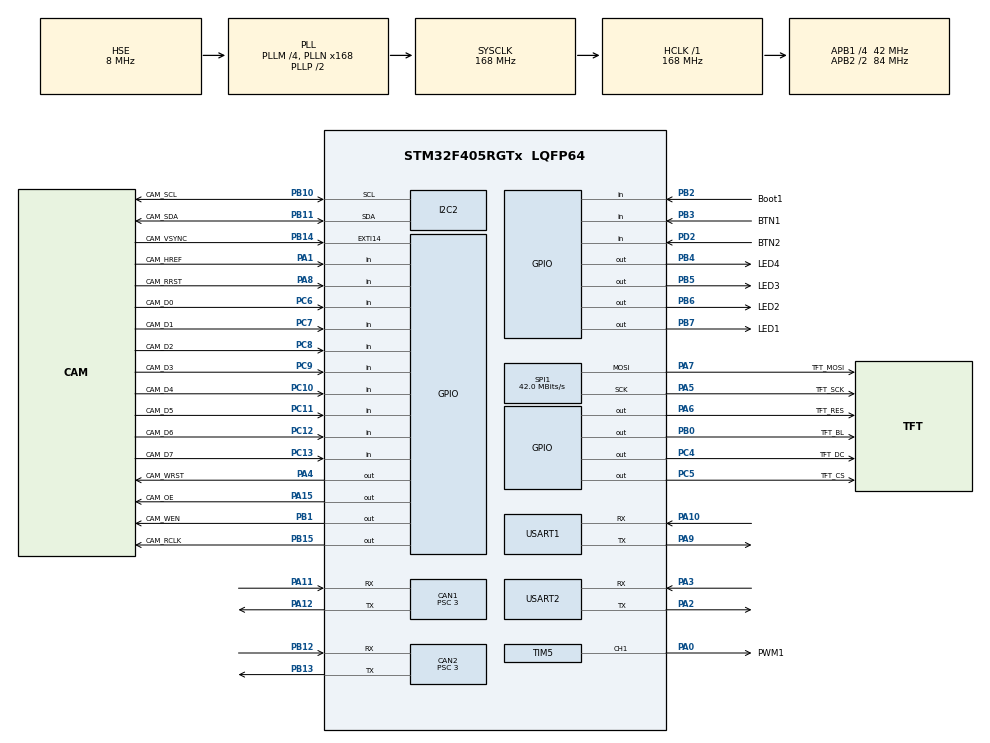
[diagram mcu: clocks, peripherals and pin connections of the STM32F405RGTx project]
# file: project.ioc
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CAN1.BS1=CAN_BS1_10TQ
CAN1.BS2=CAN_BS2_3TQ
CAN1.CalculateBaudRate=1000000
CAN1.CalculateTimeBit=1000
CAN1.CalculateTimeQuantum=71.42857142857143
CAN1.Prescaler=3
CAN2.BS1=CAN_BS1_10TQ
CAN2.BS2=CAN_BS2_3TQ
CAN2.CalculateBaudRate=1000000
CAN2.CalculateTimeBit=1000
CAN2.CalculateTimeQuantum=71.42857142857143
CAN2.Prescaler=3
Dma.Request0=SPI1_TX
Dma.SPI1_TX.0.Direction=DMA_MEMORY_TO_PERIPH
Dma.SPI1_TX.0.FIFOMode=DMA_FIFOMODE_ENABLE
Dma.SPI1_TX.0.FIFOThreshold=DMA_FIFO_THRESHOLD_FULL
Dma.SPI1_TX.0.Instance=DMA2_Stream3
Dma.SPI1_TX.0.MemBurst=DMA_MBURST_INC16
Dma.SPI1_TX.0.MemDataAlignment=DMA_MDATAALIGN_BYTE
Dma.SPI1_TX.0.MemInc=DMA_MINC_ENABLE
Dma.SPI1_TX.0.Mode=DMA_NORMAL
Dma.SPI1_TX.0.PeriphBurst=DMA_PBURST_SINGLE
Dma.SPI1_TX.0.PeriphDataAlignment=DMA_PDATAALIGN_BYTE
Dma.SPI1_TX.0.PeriphInc=DMA_PINC_DISABLE
Dma.SPI1_TX.0.Priority=DMA_PRIORITY_LOW
Mcu.Family=STM32F4
Mcu.Name=STM32F405RGTx
Mcu.Package=LQFP64
NVIC.DMA2_Stream3_IRQn=true\:0\:0\:false\:false\:true\:false\:true\:true
NVIC.EXTI15_10_IRQn=true\:0\:0\:false\:false\:true\:true\:true\:true
NVIC.PriorityGroup=NVIC_PRIORITYGROUP_4
NVIC.SPI1_IRQn=true\:0\:0\:false\:false\:true\:true\:true\:true
NVIC.TIM5_IRQn=true\:0\:0\:false\:false\:true\:true\:true\:true
NVIC.USART1_IRQn=true\:0\:0\:false\:false\:true\:true\:true\:true
PA0-WKUP.GPIO_Label=PWM1
PA0-WKUP.Signal=S_TIM5_CH1
PA1.GPIO_Label=CAM_HREF
PA1.Signal=GPIO_Input
PA10.Mode=Asynchronous
PA10.Signal=USART1_RX
PA11.Mode=CAN_Activate
PA11.Signal=CAN1_RX
PA12.Mode=CAN_Activate
PA12.Signal=CAN1_TX
PA13.Mode=Serial_Wire
PA13.Signal=SYS_JTMS-SWDIO
PA14.Mode=Serial_Wire
PA14.Signal=SYS_JTCK-SWCLK
PA15.GPIO_Label=CAM_OE
PA15.Signal=GPIO_Output
PA2.Mode=Asynchronous
PA2.Signal=USART2_TX
PA3.Mode=Asynchronous
PA3.Signal=USART2_RX
PA4.GPIO_Label=CAM_WRST
PA4.Signal=GPIO_Output
PA5.GPIO_Label=TFT_SCK
PA5.Mode=TX_Only_Simplex_Unidirect_Master
PA5.Signal=SPI1_SCK
PA6.GPIO_Label=TFT_RES
PA6.Signal=GPIO_Output
PA7.GPIO_Label=TFT_MOSI
PA7.Mode=TX_Only_Simplex_Unidirect_Master
PA7.Signal=SPI1_MOSI
PA8.GPIO_Label=CAM_RRST
PA8.Signal=GPIO_Input
PA9.Mode=Asynchronous
PA9.Signal=USART1_TX
PB0.GPIO_Label=TFT_BL
PB0.Signal=GPIO_Output
PB1.GPIO_Label=CAM_WEN
PB1.Signal=GPIO_Output
PB10.GPIO_Label=CAM_SCL
PB10.Mode=I2C
PB10.Signal=I2C2_SCL
PB11.GPIO_Label=CAM_SDA
PB11.Mode=I2C
PB11.Signal=I2C2_SDA
PB12.Mode=CAN_Activate
PB12.Signal=CAN2_RX
PB13.Mode=CAN_Activate
PB13.Signal=CAN2_TX
PB14.GPIO_Label=CAM_VSYNC
PB14.Signal=GPXTI14
PB15.GPIO_Label=CAM_RCLK
PB15.Signal=GPIO_Output
PB2.GPIO_Label=Boot1
PB2.Signal=GPIO_Input
PB3.GPIO_Label=BTN1
PB3.GPIO_PuPd=GPIO_PULLUP
PB3.Signal=GPIO_Input
PB4.GPIO_Label=LED4
PB4.Signal=GPIO_Output
PB5.GPIO_Label=LED3
PB5.Signal=GPIO_Output
PB6.GPIO_Label=LED2
PB6.Signal=GPIO_Output
PB7.GPIO_Label=LED1
PB7.Signal=GPIO_Output
PC10.GPIO_Label=CAM_D4
PC10.Signal=GPIO_Input
PC11.GPIO_Label=CAM_D5
PC11.Signal=GPIO_Input
PC12.GPIO_Label=CAM_D6
PC12.GPIO_PuPd=GPIO_NOPULL
PC12.Signal=GPIO_Input
PC13-ANTI_TAMP.GPIO_Label=CAM_D7
PC13-ANTI_TAMP.Signal=GPIO_Input
PC4.GPIO_Label=TFT_DC
PC4.Signal=GPIO_Output
PC5.GPIO_Label=TFT_CS
PC5.Signal=GPIO_Output
PC6.GPIO_Label=CAM_D0
PC6.Signal=GPIO_Input
PC7.GPIO_Label=CAM_D1
PC7.Signal=GPIO_Input
PC8.GPIO_Label=CAM_D2
PC8.Signal=GPIO_Input
PC9.GPIO_Label=CAM_D3
PC9.Signal=GPIO_Input
PD2.GPIO_Label=BTN2
PD2.GPIO_PuPd=GPIO_PULLUP
PD2.Signal=GPIO_Input
PH0-OSC_IN.Mode=HSE-External-Oscillator
PH0-OSC_IN.Signal=RCC_OSC_IN
PH1-OSC_OUT.Mode=HSE-External-Oscillator
PH1-OSC_OUT.Signal=RCC_OSC_OUT
ProjectManager.HeapSize=0x200
ProjectManager.StackSize=0x400
ProjectManager.TargetToolchain=Makefile
RCC.48MHZClocksFreq_Value=84000000
RCC.AHBFreq_Value=168000000
RCC.APB1CLKDivider=RCC_HCLK_DIV4
RCC.APB1Freq_Value=42000000
RCC.APB1TimFreq_Value=84000000
RCC.APB2CLKDivider=RCC_HCLK_DIV2
RCC.APB2Freq_Value=84000000
RCC.APB2TimFreq_Value=168000000
RCC.CortexFreq_Value=168000000
RCC.HCLKFreq_Value=168000000
RCC.HSE_VALUE=8000000
RCC.HSI_VALUE=16000000
RCC.LSE_VALUE=32768
RCC.PLLM=4
RCC.PLLN=168
RCC.PLLSourceVirtual=RCC_PLLSOURCE_HSE
RCC.SYSCLKFreq_VALUE=168000000
RCC.SYSCLKSource=RCC_SYSCLKSOURCE_PLLCLK
RCC.VCOOutputFreq_Value=336000000
SH.S_TIM5_CH1.0=TIM5_CH1,PWM Generation1 CH1
SPI1.CalculateBaudRate=42.0 MBits/s
SPI1.Direction=SPI_DIRECTION_2LINES
SPI1.Mode=SPI_MODE_MASTER
SPI1.VirtualType=VM_MASTER
TIM5.Channel-PWM\ Generation1\ CH1=TIM_CHANNEL_1
TIM5.OC1Preload_PWM=ENABLE
TIM5.Period=0
USART1.VirtualMode=VM_ASYNC
USART2.VirtualMode=VM_ASYNC
VP_TIM5_VS_ClockSourceINT.Mode=Internal
board=custom

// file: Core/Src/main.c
/* USER CODE BEGIN Header */
/**
 ******************************************************************************
 * @file           : main.c
 * @brief          : Main program body
 ******************************************************************************
 * @attention
 *
 * Copyright (c) 2023 STMicroelectronics.
 * All rights reserved.
 *
 * This software is licensed under terms that can be found in the LICENSE file
 * in the root directory of this software component.
 * If no LICENSE file comes with this software, it is provided AS-IS.
 *
 ******************************************************************************
 */
/* USER CODE END Header */
#include "main.h"
#include "can.h"
#include "dma.h"
#include "i2c.h"
#include "spi.h"
#include "tim.h"
#include "usart.h"
#include "gpio.h"

/* USER CODE BEGIN Includes */
#include "lcd/lcd.h"
/* USER CODE END Includes */

void SystemClock_Config(void);

int main(void) {

    /* MCU Configuration--------------------------------------------------------*/

    /* Reset of all peripherals, Initializes the Flash interface and the Systick. */
    HAL_Init();

    /* Configure the system clock */
    SystemClock_Config();

    /* Initialize all configured peripherals */
    MX_GPIO_Init();
    MX_CAN1_Init();
    MX_CAN2_Init();
    MX_SPI1_Init();
    MX_USART1_UART_Init();
    MX_I2C2_Init();
    MX_DMA_Init();
    MX_USART2_UART_Init();
    MX_TIM5_Init();
    /* USER CODE BEGIN 2 */
    volatile uint32_t last_ticks = 0;

    // we turn off all the led first
    led_off(LED1);
    led_off(LED2);
    led_off(LED3);
    led_off(LED4);
    tft_init(PIN_ON_TOP, BLACK, WHITE, YELLOW, DARK_GREEN);
    HAL_GPIO_WritePin(GPIOC, GPIO_PIN_3, GPIO_PIN_SET);

    /* USER CODE END 2 */

    /* Infinite loop */
    /* USER CODE BEGIN WHILE */
    tft_force_clear();
    while (1) {
        if (HAL_GetTick() - last_ticks >= 100) {
            tft_prints(0, 0, "Hello World!");
            led_toggle(LED1);
            led_toggle(LED2);
            led_toggle(LED3);
            led_toggle(LED4);
            last_ticks = HAL_GetTick();
        }
        /* USER CODE END WHILE */
        tft_update(100);
    }
}

void SystemClock_Config(void) {
    RCC_OscInitTypeDef RCC_OscInitStruct = { 0 };
    RCC_ClkInitTypeDef RCC_ClkInitStruct = { 0 };

    /** Configure the main internal regulator output voltage
     */
    __HAL_RCC_PWR_CLK_ENABLE();
    __HAL_PWR_VOLTAGESCALING_CONFIG(PWR_REGULATOR_VOLTAGE_SCALE1);

    /** Initializes the RCC Oscillators according to the specified parameters
     * in the RCC_OscInitTypeDef structure.
     */
    RCC_OscInitStruct.OscillatorType = RCC_OSCILLATORTYPE_HSE;
    RCC_OscInitStruct.HSEState = RCC_HSE_ON;
    RCC_OscInitStruct.PLL.PLLState = RCC_PLL_ON;
    RCC_OscInitStruct.PLL.PLLSource = RCC_PLLSOURCE_HSE;
    RCC_OscInitStruct.PLL.PLLM = 4;
    RCC_OscInitStruct.PLL.PLLN = 168;
    RCC_OscInitStruct.PLL.PLLP = RCC_PLLP_DIV2;
    RCC_OscInitStruct.PLL.PLLQ = 4;
    if (HAL_RCC_OscConfig(&RCC_OscInitStruct) != HAL_OK) {
        Error_Handler();
    }

    /** Initializes the CPU, AHB and APB buses clocks
     */
    RCC_ClkInitStruct.ClockType = RCC_CLOCKTYPE_HCLK | RCC_CLOCKTYPE_SYSCLK
            | RCC_CLOCKTYPE_PCLK1 | RCC_CLOCKTYPE_PCLK2;
    RCC_ClkInitStruct.SYSCLKSource = RCC_SYSCLKSOURCE_PLLCLK;
    RCC_ClkInitStruct.AHBCLKDivider = RCC_SYSCLK_DIV1;
    RCC_ClkInitStruct.APB1CLKDivider = RCC_HCLK_DIV4;
    RCC_ClkInitStruct.APB2CLKDivider = RCC_HCLK_DIV2;

    if (HAL_RCC_ClockConfig(&RCC_ClkInitStruct, FLASH_LATENCY_5) != HAL_OK) {
        Error_Handler();
    }
}

void Error_Handler(void) {
    __disable_irq();
    while (1) {
    }
}
